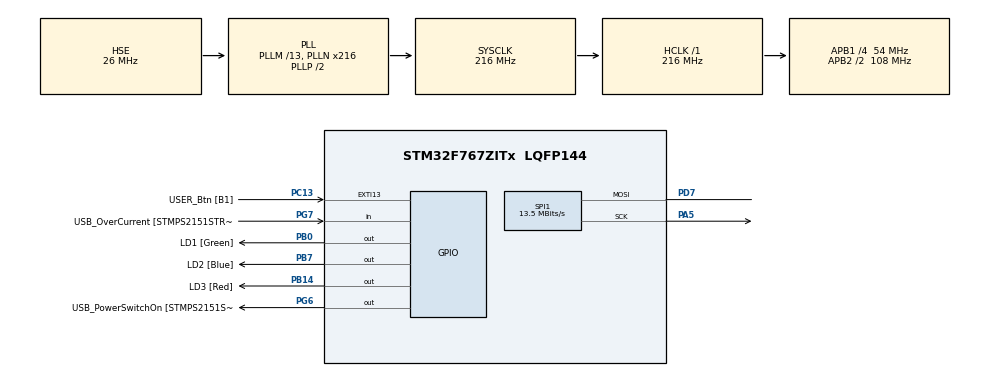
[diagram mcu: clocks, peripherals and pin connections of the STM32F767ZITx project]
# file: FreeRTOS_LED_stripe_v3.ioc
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Dma.Request0=SPI1_TX
Dma.SPI1_TX.0.Direction=DMA_MEMORY_TO_PERIPH
Dma.SPI1_TX.0.FIFOMode=DMA_FIFOMODE_DISABLE
Dma.SPI1_TX.0.Instance=DMA2_Stream3
Dma.SPI1_TX.0.MemDataAlignment=DMA_MDATAALIGN_BYTE
Dma.SPI1_TX.0.MemInc=DMA_MINC_ENABLE
Dma.SPI1_TX.0.Mode=DMA_NORMAL
Dma.SPI1_TX.0.PeriphDataAlignment=DMA_PDATAALIGN_BYTE
Dma.SPI1_TX.0.PeriphInc=DMA_PINC_DISABLE
Dma.SPI1_TX.0.Priority=DMA_PRIORITY_LOW
Mcu.Family=STM32F7
Mcu.Name=STM32F767ZITx
Mcu.Package=LQFP144
NVIC.DMA2_Stream3_IRQn=true\:0\:0\:false\:false\:true\:false\:true\:true
NVIC.PriorityGroup=NVIC_PRIORITYGROUP_4
PA1.GPIO_Label=RMII_REF_CLK [LAN8742A-CZ-TR_REFCLK0]
PA1.Signal=ETH_REF_CLK
PA10.GPIO_Label=USB_ID
PA10.Signal=USB_OTG_FS_ID
PA11.GPIO_Label=USB_DM
PA11.Signal=USB_OTG_FS_DM
PA12.GPIO_Label=USB_DP
PA12.Signal=USB_OTG_FS_DP
PA13.GPIO_Label=TMS
PA13.Signal=SYS_JTMS-SWDIO
PA14.GPIO_Label=TCK
PA14.Signal=SYS_JTCK-SWCLK
PA2.GPIO_Label=RMII_MDIO [LAN8742A-CZ-TR_MDIO]
PA2.Signal=ETH_MDIO
PA5.Mode=Simplex_Bidirectional_Master
PA5.Signal=SPI1_SCK
PA7.GPIO_Label=RMII_CRS_DV [LAN8742A-CZ-TR_CRS_DV]
PA7.Signal=ETH_CRS_DV
PA8.GPIO_Label=USB_SOF [TP1]
PA8.Signal=USB_OTG_FS_SOF
PA9.GPIO_Label=USB_VBUS
PA9.Signal=USB_OTG_FS_VBUS
PB0.GPIO_Label=LD1 [Green]
PB0.Signal=GPIO_Output
PB13.GPIO_Label=RMII_TXD1 [LAN8742A-CZ-TR_TXD1]
PB13.Signal=ETH_TXD1
PB14.GPIO_Label=LD3 [Red]
PB14.Signal=GPIO_Output
PB3.GPIO_Label=SW0
PB3.Signal=SYS_JTDO-SWO
PB7.GPIO_Label=LD2 [Blue]
PB7.Signal=GPIO_Output
PC1.GPIO_Label=RMII_MDC [LAN8742A-CZ-TR_MDC]
PC1.Signal=ETH_MDC
PC13.GPIO_Label=USER_Btn [B1]
PC13.Signal=GPXTI13
PC14/OSC32_IN.Signal=RCC_OSC32_IN
PC15/OSC32_OUT.Signal=RCC_OSC32_OUT
PC4.GPIO_Label=RMII_RXD0 [LAN8742A-CZ-TR_RXD0]
PC4.Signal=ETH_RXD0
PC5.GPIO_Label=RMII_RXD1 [LAN8742A-CZ-TR_RXD1]
PC5.Signal=ETH_RXD1
PD7.Mode=Simplex_Bidirectional_Master
PD7.Signal=SPI1_MOSI
PD8.GPIO_Label=STLK_RX [STM32F103CBT6_PA3]
PD8.Signal=USART3_TX
PD9.GPIO_Label=STLK_TX [STM32F103CBT6_PA2]
PD9.Signal=USART3_RX
PG11.GPIO_Label=RMII_TX_EN [LAN8742A-CZ-TR_TXEN]
PG11.Signal=ETH_TX_EN
PG13.GPIO_Label=RMII_TXD0 [LAN8742A-CZ-TR_TXD0]
PG13.Signal=ETH_TXD0
PG6.GPIO_Label=USB_PowerSwitchOn [STMPS2151STR_EN]
PG6.Signal=GPIO_Output
PG7.GPIO_Label=USB_OverCurrent [STMPS2151STR_FAULT]
PG7.Signal=GPIO_Input
PH0/OSC_IN.GPIO_Label=MCO [STM32F103CBT6_PA8]
PH0/OSC_IN.Mode=HSE-External-Oscillator
PH0/OSC_IN.Signal=RCC_OSC_IN
PH1/OSC_OUT.Mode=HSE-External-Oscillator
PH1/OSC_OUT.Signal=RCC_OSC_OUT
ProjectManager.HeapSize=0x200
ProjectManager.StackSize=0x400
ProjectManager.TargetToolchain=STM32CubeIDE
RCC.48MHZClocksFreq_Value=24000000
RCC.AHBFreq_Value=216000000
RCC.APB1CLKDivider=RCC_HCLK_DIV4
RCC.APB1Freq_Value=54000000
RCC.APB1TimFreq_Value=108000000
RCC.APB2CLKDivider=RCC_HCLK_DIV2
RCC.APB2Freq_Value=108000000
RCC.APB2TimFreq_Value=216000000
RCC.CortexFreq_Value=216000000
RCC.HCLKFreq_Value=216000000
RCC.HSE_VALUE=26000000
RCC.HSI_VALUE=16000000
RCC.LSE_VALUE=32768
RCC.PLLM=13
RCC.PLLMUL=RCC_PLL_MUL9
RCC.PLLN=216
RCC.PLLSourceVirtual=RCC_PLLSOURCE_HSE
RCC.PRESCALERUSB=RCC_USBCLKSOURCE_PLL_DIV1_5
RCC.SYSCLKFreq_VALUE=216000000
RCC.SYSCLKSource=RCC_SYSCLKSOURCE_PLLCLK
RCC.SYSCLKSourceVirtual=RCC_SYSCLKSOURCE_PLLCLK
RCC.USBFreq_Value=216000000
RCC.VCOOutputFreq_Value=432000000
SPI1.BaudRatePrescaler=SPI_BAUDRATEPRESCALER_8
SPI1.CLKPhase=SPI_PHASE_1EDGE
SPI1.CLKPolarity=SPI_POLARITY_LOW
SPI1.CalculateBaudRate=13.5 MBits/s
SPI1.DataSize=SPI_DATASIZE_8BIT
SPI1.Direction=SPI_DIRECTION_1LINE
SPI1.FirstBit=SPI_FIRSTBIT_MSB
SPI1.Mode=SPI_MODE_MASTER
SPI1.NSSPMode=SPI_NSS_PULSE_ENABLE
SPI1.VirtualType=VM_MASTER
board=NUCLEO-F767ZI

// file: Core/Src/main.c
/* USER CODE BEGIN Header */
/**
  ******************************************************************************
  * @file           : main.c
  * @brief          : Main program body
  ******************************************************************************
  * @attention
  *
  * Copyright (c) 2024 STMicroelectronics.
  * All rights reserved.
  *
  * This software is licensed under terms that can be found in the LICENSE file
  * in the root directory of this software component.
  * If no LICENSE file comes with this software, it is provided AS-IS.
  *
  ******************************************************************************
  */
/* USER CODE END Header */
#include "main.h"
#include "dma.h"
#include "spi.h"
#include "gpio.h"

/* USER CODE BEGIN Includes */
#include <stdio.h>
#include "ws2812b.h"

/* USER CODE END Includes */

/* USER CODE BEGIN PD */
#define PACKING WS2812B_PACKING_SINGLE
#define PREFIX_LEN 1
#define SUFFIX_LEN 4
#define LED_COUNT 7

/* USER CODE END PD */

void SystemClock_Config(void);

int main(void)
{

  /* MCU Configuration--------------------------------------------------------*/

  /* Reset of all peripherals, Initializes the Flash interface and the Systick. */
  HAL_Init();

  /* Configure the system clock */
  SystemClock_Config();

  /* Initialize all configured peripherals */
  MX_GPIO_Init();
  MX_DMA_Init();
  MX_SPI1_Init();
  /* USER CODE BEGIN 2 */
  // Transmit 4 empty bytes to ensure SDO is low.
  uint8_t d[4] = {0};
  HAL_SPI_Transmit(&hspi1, d, 4, 100);

  // Create handle and configure
  ws2812b_handle_t hws2812b;

  hws2812b.config.packing = PACKING; // See macro above
  hws2812b.config.pulse_len_1 = WS2812B_PULSE_LEN_6b;
  hws2812b.config.pulse_len_0 = WS2812B_PULSE_LEN_2b;
  hws2812b.config.first_bit_0 = WS2812B_FIRST_BIT_0_ENABLED;
  hws2812b.config.prefix_len = PREFIX_LEN; // See macro above
  hws2812b.config.suffix_len = SUFFIX_LEN; // See macro above
  hws2812b.config.spi_bit_order = WS2812B_MSB_FIRST;

  // Create array of LEDs & set LED color
  ws2812b_led_t leds[LED_COUNT];

  for(int i=0;i<LED_COUNT;i++) {
	  leds[i].red = 0x40;
	  leds[i].green = 0x00;
	  leds[i].blue = 0x00;
  }

  // Add LEDs and count to handle
  hws2812b.led_count = LED_COUNT;
  hws2812b.leds = leds;

  // Initialize the driver
  if(ws2812b_init(&hws2812b)){
	  printf("Invalid ws2812b config! (%s)\r\n",ws2812b_error_msg);
	  while(1) {;}
  }

  // Create buffer
  uint8_t dma_buf[ws2812b_required_buffer_len(&hws2812b)];

  /* USER CODE END 2 */

  /* Infinite loop */
  while (1)
  {

    /* USER CODE BEGIN 3 */
	  // Fill buffer
	  ws2812b_fill_buffer(&hws2812b, dma_buf);

	  // Transmit
	  HAL_SPI_Transmit_DMA(&hspi1, dma_buf, ws2812b_required_buffer_len(&hws2812b));
	  HAL_Delay(10); // 10ms delay
  }
  /* USER CODE END 3 */
}

void SystemClock_Config(void)
{
  RCC_OscInitTypeDef RCC_OscInitStruct = {0};
  RCC_ClkInitTypeDef RCC_ClkInitStruct = {0};

  /** Configure the main internal regulator output voltage
  */
  __HAL_RCC_PWR_CLK_ENABLE();
  __HAL_PWR_VOLTAGESCALING_CONFIG(PWR_REGULATOR_VOLTAGE_SCALE1);

  /** Initializes the RCC Oscillators according to the specified parameters
  * in the RCC_OscInitTypeDef structure.
  */
  RCC_OscInitStruct.OscillatorType = RCC_OSCILLATORTYPE_HSE;
  RCC_OscInitStruct.HSEState = RCC_HSE_ON;
  RCC_OscInitStruct.PLL.PLLState = RCC_PLL_ON;
  RCC_OscInitStruct.PLL.PLLSource = RCC_PLLSOURCE_HSE;
  RCC_OscInitStruct.PLL.PLLM = 13;
  RCC_OscInitStruct.PLL.PLLN = 216;
  RCC_OscInitStruct.PLL.PLLP = RCC_PLLP_DIV2;
  RCC_OscInitStruct.PLL.PLLQ = 2;
  RCC_OscInitStruct.PLL.PLLR = 2;
  if (HAL_RCC_OscConfig(&RCC_OscInitStruct) != HAL_OK)
  {
    Error_Handler();
  }

  /** Activate the Over-Drive mode
  */
  if (HAL_PWREx_EnableOverDrive() != HAL_OK)
  {
    Error_Handler();
  }

  /** Initializes the CPU, AHB and APB buses clocks
  */
  RCC_ClkInitStruct.ClockType = RCC_CLOCKTYPE_HCLK|RCC_CLOCKTYPE_SYSCLK
                              |RCC_CLOCKTYPE_PCLK1|RCC_CLOCKTYPE_PCLK2;
  RCC_ClkInitStruct.SYSCLKSource = RCC_SYSCLKSOURCE_PLLCLK;
  RCC_ClkInitStruct.AHBCLKDivider = RCC_SYSCLK_DIV1;
  RCC_ClkInitStruct.APB1CLKDivider = RCC_HCLK_DIV4;
  RCC_ClkInitStruct.APB2CLKDivider = RCC_HCLK_DIV2;

  if (HAL_RCC_ClockConfig(&RCC_ClkInitStruct, FLASH_LATENCY_7) != HAL_OK)
  {
    Error_Handler();
  }
}

void Error_Handler(void)
{
  __disable_irq();
  while (1)
  {
  }
}
